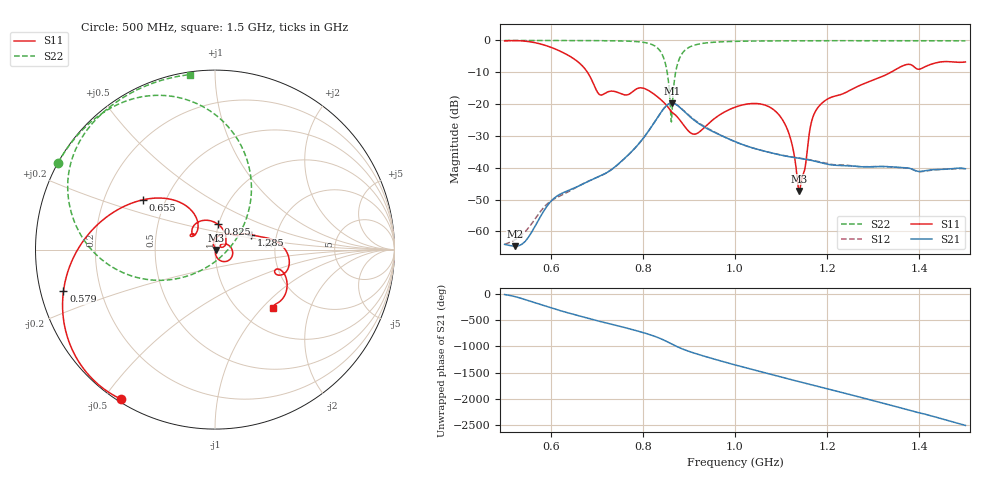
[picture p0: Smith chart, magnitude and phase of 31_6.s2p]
! TOUCHSTONE file generated by CST MICROWAVE STUDIO
! Date and time: Sat Oct 24 11:48:30 2020
! Project name: Scenario_1_Circular_Tissue_out_of_Line.cst
! Parameters = {dy1=174.23; L_HA=400; MT=2.54; Rad_Dielectric=30; Rad_Lower=7.3; Rad_Upper=30; a_HA=580; a_WG=246; b_HA=500; b_WG=121; c_HA=0; c_WG=187; d_feed=85; dx1=1039; h_feed=15; h_lower=18; h_upper=40}
! Header version: 2018
! Port assignment regex: !\s*Touchstone port\s*([0-9]+)\s*=\s*(CST MWS port|CST DS port)\s*([0-9]+|Zmin|Zmax)\s*\(\"(.*)\"\)(\s*mode\s*([0-9]+))?.*
! Touchstone port assignment:
! Touchstone port 1 = CST MWS port 1 ("")
! Touchstone port 2 = CST MWS port 2 ("")
# GHz S DB R 50
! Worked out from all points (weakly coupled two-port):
!   1001 points, 500 MHz to 1.5 GHz, reference 50 ohm
!   highest |S21| = -19.69 dB at 863 MHz (marker M1); lowest = -64.6 dB at 523 MHz (marker M2)
!   lowest |S11| = -47.3 dB at 1.139 GHz (marker M3), VSWR 1.01, Z = 50.4 - j0.134 ohm
!   |S11| at or under -10 dB: 679.7 MHz to 1.338 GHz (658.5 MHz wide, 65.3 % of centre)
!   |S22| runs from -25.6 to 0.0 dB; largest |S21 - S12| = 0.0012
!   S11 on the Smith chart (normalised r, x): 500 MHz: 0.01, -0.55; 579 MHz: 0.07, -0.13; 655 MHz: 0.37, +0.27; 825 MHz: 0.99, +0.29; 1.285 GHz: 1.47, +0.26; 1.5 GHz: 1.41, -1.16
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0.5  -0.15 -122.0  -64.06 -6.7  -64.05 -5.7  -0.01 151.2
0.523  -0.06 -132.7  -64.63 -47.1  -62.57 -42.1  -0.01 149.6
0.579  -1.16 -164.7  -55.02 161.4  -53.50 170.4  -0.02 145.7
0.655  -6.26 145.2  -46.13 -38.3  -46.20 -38.1  -0.03 139.6
0.667  -7.74 135.7  -45.31 -66.8  -45.26 -66.9  -0.04 138.4
0.708  -17.15 139.4  -42.56 -163.5  -42.55 -163.2  -0.07 134.0
0.825  -16.95 83.1  -25.73 -83.6  -25.73 -83.3  -1.65 97.9
0.834  -17.97 71.9  -23.73 -113.7  -23.73 -113.5  -2.69 88.1
0.848  -19.85 54.9  -20.95 -168.0  -20.96 -167.9  -6.75 64.5
0.863  -22.53 35.4  -19.69 125.3  -19.67 125.3  -23.38 -90.3
0.875  -24.07 23.2  -20.42 73.8  -20.37 73.7  -7.52 -156.9
0.891  -27.07 17.4  -22.47 15.3  -22.39 15.3  -3.13 179.2
0.916  -29.32 33.2  -25.56 -59.7  -25.37 -59.4  -1.32 161.5
1  -20.98 7.6  -31.78 87.6  -31.83 87.7  -0.29 140.8
1.096  -23.49 -65.1  -35.91 -135.8  -35.87 -135.8  -0.13 130.4
1.12  -30.59 -82.2  -36.59 169.7  -36.51 169.5  -0.12 128.3
1.139  -47.31 -17.9  -37.02 126.7  -36.95 126.3  -0.11 126.7
1.167  -25.03 91.7  -37.72 62.5  -37.63 62.5  -0.10 124.4
1.196  -18.85 51.1  -38.74 -2.5  -38.56 -2.3  -0.09 122.2
1.285  -13.28 22.6  -39.74 160.3  -39.67 161.1  -0.08 115.4
1.334  -10.33 11.9  -39.67 45.5  -39.69 46.0  -0.09 111.7
1.5  -6.76 -44.8  -40.31 8.9  -40.35 8.5  -0.13 98.2
